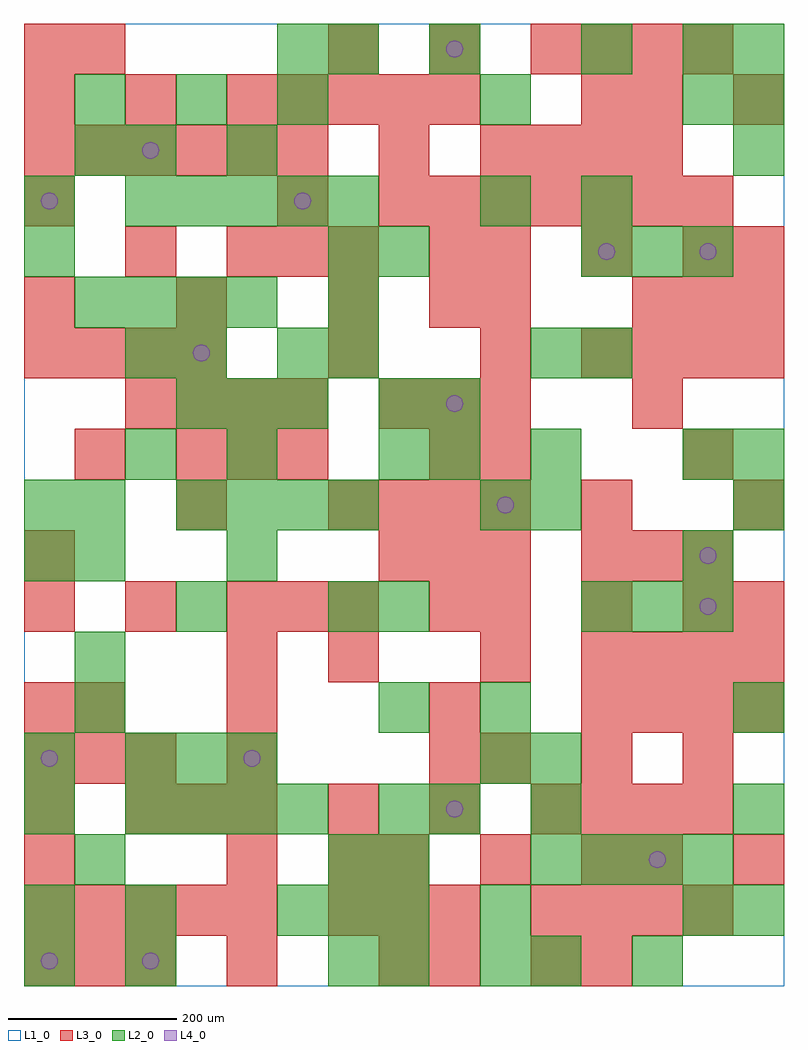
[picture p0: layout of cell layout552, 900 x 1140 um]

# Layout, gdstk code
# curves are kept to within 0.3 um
import gdstk
lib = gdstk.Library(unit=1e-6, precision=1e-09)
def R(c, l, rs):  # rectangles x0, y0, x1, y1
    for r in rs: c.add(gdstk.rectangle(r[:2], r[2:], *l))
def A(c, l, x, y, w, h, nx, ny, dx, dy):  # array of equal rectangles
    R(c, l, [(x+i*dx, y+j*dy, x+i*dx+w, y+j*dy+h) for i in range(nx) for j in range(ny)])
def P(c, l, *ps):  # polygons
    for p in ps: c.add(gdstk.Polygon(p, *l))
L1_0 = (1, 0)
L2_0 = (2, 0)
L3_0 = (3, 0)
L4_0 = (4, 0)

layout552 = lib.new_cell('layout552')
R(layout552, L1_0, [(0,0,900,1140)])
A(layout552, L2_0, 300, 60, 60, 60, 3, 1, 60, 0)
A(layout552, L2_0, 840, 60, 60, 60, 1, 3, 0, 120)
A(layout552, L2_0, 360, 120, 60, 60, 1, 3, 0, 300)
A(layout552, L2_0, 600, 120, 60, 60, 4, 1, 60, 0)
A(layout552, L2_0, 120, 180, 60, 60, 4, 1, 60, 0)
A(layout552, L2_0, 420, 180, 60, 60, 1, 3, 0, 120)
A(layout552, L2_0, 120, 240, 60, 60, 3, 1, 60, 0)
A(layout552, L2_0, 660, 420, 60, 60, 3, 2, 60, 420)
A(layout552, L2_0, 180, 540, 60, 60, 4, 1, 60, 0)
A(layout552, L2_0, 180, 660, 60, 60, 3, 1, 60, 0)
A(layout552, L2_0, 660, 720, 60, 60, 1, 3, 0, 180)
A(layout552, L2_0, 60, 780, 60, 60, 4, 1, 60, 0)
A(layout552, L2_0, 120, 900, 60, 60, 5, 1, 60, 0)
A(layout552, L2_0, 840, 960, 60, 60, 1, 3, 0, 60)
A(layout552, L2_0, 60, 1020, 60, 60, 3, 1, 120, 0)
R(layout552, L2_0, [(0,0,60,60), (120,0,180,60), (360,0,420,60), (420,0,480,60), (540,0,600,60), (600,0,660,60), (720,0,780,60), (0,60,60,120), (120,60,180,120), (540,60,600,120), (780,60,840,120), (60,120,120,180), (420,120,480,180), (0,180,60,240), (480,180,540,240), (600,180,660,240), (0,240,60,300), (540,240,600,300), (600,240,660,300), (60,300,120,360), (540,300,600,360), (60,360,120,420), (180,420,240,480), (0,480,60,540), (60,480,120,540), (240,480,300,540), (780,480,840,540), (0,540,60,600), (60,540,120,600), (540,540,600,600), (600,540,660,600), (840,540,900,600), (120,600,180,660), (240,600,300,660), (420,600,480,660), (480,600,540,660), (600,600,660,660), (780,600,840,660), (840,600,900,660), (420,660,480,720), (480,660,540,720), (120,720,180,780), (180,720,240,780), (300,720,360,780), (600,720,660,780), (360,780,420,840), (0,840,60,900), (360,840,420,900), (420,840,480,900), (0,900,60,960), (540,900,600,960), (60,960,120,1020), (120,960,180,1020), (240,960,300,1020), (540,1020,600,1080), (780,1020,840,1080), (300,1080,360,1140), (360,1080,420,1140), (480,1080,540,1140), (780,1080,840,1140)])
A(layout552, L3_0, 0, 0, 60, 60, 3, 2, 60, 240)
A(layout552, L3_0, 240, 0, 60, 60, 1, 3, 0, 120)
A(layout552, L3_0, 0, 60, 60, 60, 5, 1, 60, 0)
A(layout552, L3_0, 360, 60, 60, 60, 3, 1, 60, 0)
A(layout552, L3_0, 600, 60, 60, 60, 4, 1, 60, 0)
A(layout552, L3_0, 420, 120, 60, 60, 3, 1, 120, 0)
A(layout552, L3_0, 120, 180, 60, 60, 3, 1, 60, 0)
A(layout552, L3_0, 360, 180, 60, 60, 3, 2, 120, 900)
A(layout552, L3_0, 660, 180, 60, 60, 3, 2, 60, 300)
A(layout552, L3_0, 540, 240, 60, 60, 3, 2, 120, 180)
A(layout552, L3_0, 660, 300, 60, 60, 4, 2, 60, 60)
A(layout552, L3_0, 0, 420, 60, 60, 3, 2, 120, 600)
A(layout552, L3_0, 480, 420, 60, 60, 1, 3, 0, 180)
A(layout552, L3_0, 420, 480, 60, 60, 3, 2, 60, 180)
A(layout552, L3_0, 360, 540, 60, 60, 4, 1, 60, 0)
A(layout552, L3_0, 180, 600, 60, 60, 3, 1, 60, 0)
A(layout552, L3_0, 120, 660, 60, 60, 4, 1, 60, 0)
A(layout552, L3_0, 0, 720, 60, 60, 4, 1, 60, 0)
A(layout552, L3_0, 660, 720, 60, 60, 4, 1, 60, 0)
A(layout552, L3_0, 0, 780, 60, 60, 3, 1, 180, 0)
A(layout552, L3_0, 720, 780, 60, 60, 3, 1, 60, 0)
A(layout552, L3_0, 240, 840, 60, 60, 3, 1, 60, 0)
A(layout552, L3_0, 540, 840, 60, 60, 3, 1, 120, 0)
A(layout552, L3_0, 420, 900, 60, 60, 7, 1, 60, 0)
A(layout552, L3_0, 0, 960, 60, 60, 6, 1, 60, 0)
A(layout552, L3_0, 540, 960, 60, 60, 4, 1, 60, 0)
A(layout552, L3_0, 300, 1020, 60, 60, 4, 1, 60, 0)
A(layout552, L3_0, 660, 1080, 60, 60, 3, 1, 60, 0)
R(layout552, L3_0, [(420,0,480,60), (480,0,540,60), (600,0,660,60), (660,0,720,60), (0,120,60,180), (360,120,420,180), (720,120,780,180), (840,120,900,180), (0,180,60,240), (480,240,540,300), (0,300,60,360), (60,300,120,360), (240,300,300,360), (480,300,540,360), (240,360,300,420), (360,360,420,420), (540,360,600,420), (300,420,360,480), (360,420,420,480), (840,420,900,480), (0,480,60,540), (180,540,240,600), (660,540,720,600), (840,540,900,600), (60,600,120,660), (540,600,600,660), (780,600,840,660), (720,660,780,720), (360,720,420,780), (540,720,600,780), (540,780,600,840), (120,840,180,900), (480,840,540,900), (840,840,900,900), (0,900,60,960), (300,900,360,960), (420,960,480,1020), (660,1020,720,1080), (720,1020,780,1080), (840,1020,900,1080), (0,1080,60,1140), (60,1080,120,1140)])
P(layout552, L4_0, [(40,30),(39.239,33.827),(37.071,37.071),(33.827,39.239),(30,40),(26.173,39.239),(22.929,37.071),(20.761,33.827),(20,30),(20.761,26.173),(22.929,22.929),(26.173,20.761),(30,20),(33.827,20.761),(37.071,22.929),(39.239,26.173)],
  [(40,270),(39.239,273.827),(37.071,277.071),(33.827,279.239),(30,280),(26.173,279.239),(22.929,277.071),(20.761,273.827),(20,270),(20.761,266.173),(22.929,262.929),(26.173,260.761),(30,260),(33.827,260.761),(37.071,262.929),(39.239,266.173)],
  [(40,930),(39.239,933.827),(37.071,937.071),(33.827,939.239),(30,940),(26.173,939.239),(22.929,937.071),(20.761,933.827),(20,930),(20.761,926.173),(22.929,922.929),(26.173,920.761),(30,920),(33.827,920.761),(37.071,922.929),(39.239,926.173)],
  [(160,30),(159.239,33.827),(157.071,37.071),(153.827,39.239),(150,40),(146.173,39.239),(142.929,37.071),(140.761,33.827),(140,30),(140.761,26.173),(142.929,22.929),(146.173,20.761),(150,20),(153.827,20.761),(157.071,22.929),(159.239,26.173)],
  [(160,990),(159.239,993.827),(157.071,997.071),(153.827,999.239),(150,1000),(146.173,999.239),(142.929,997.071),(140.761,993.827),(140,990),(140.761,986.173),(142.929,982.929),(146.173,980.761),(150,980),(153.827,980.761),(157.071,982.929),(159.239,986.173)],
  [(220,750),(219.239,753.827),(217.071,757.071),(213.827,759.239),(210,760),(206.173,759.239),(202.929,757.071),(200.761,753.827),(200,750),(200.761,746.173),(202.929,742.929),(206.173,740.761),(210,740),(213.827,740.761),(217.071,742.929),(219.239,746.173)],
  [(280,270),(279.239,273.827),(277.071,277.071),(273.827,279.239),(270,280),(266.173,279.239),(262.929,277.071),(260.761,273.827),(260,270),(260.761,266.173),(262.929,262.929),(266.173,260.761),(270,260),(273.827,260.761),(277.071,262.929),(279.239,266.173)],
  [(340,930),(339.239,933.827),(337.071,937.071),(333.827,939.239),(330,940),(326.173,939.239),(322.929,937.071),(320.761,933.827),(320,930),(320.761,926.173),(322.929,922.929),(326.173,920.761),(330,920),(333.827,920.761),(337.071,922.929),(339.239,926.173)],
  [(520,210),(519.239,213.827),(517.071,217.071),(513.827,219.239),(510,220),(506.173,219.239),(502.929,217.071),(500.761,213.827),(500,210),(500.761,206.173),(502.929,202.929),(506.173,200.761),(510,200),(513.827,200.761),(517.071,202.929),(519.239,206.173)],
  [(520,690),(519.239,693.827),(517.071,697.071),(513.827,699.239),(510,700),(506.173,699.239),(502.929,697.071),(500.761,693.827),(500,690),(500.761,686.173),(502.929,682.929),(506.173,680.761),(510,680),(513.827,680.761),(517.071,682.929),(519.239,686.173)],
  [(520,1110),(519.239,1113.827),(517.071,1117.071),(513.827,1119.239),(510,1120),(506.173,1119.239),(502.929,1117.071),(500.761,1113.827),(500,1110),(500.761,1106.173),(502.929,1102.929),(506.173,1100.761),(510,1100),(513.827,1100.761),(517.071,1102.929),(519.239,1106.173)],
  [(580,570),(579.239,573.827),(577.071,577.071),(573.827,579.239),(570,580),(566.173,579.239),(562.929,577.071),(560.761,573.827),(560,570),(560.761,566.173),(562.929,562.929),(566.173,560.761),(570,560),(573.827,560.761),(577.071,562.929),(579.239,566.173)],
  [(700,870),(699.239,873.827),(697.071,877.071),(693.827,879.239),(690,880),(686.173,879.239),(682.929,877.071),(680.761,873.827),(680,870),(680.761,866.173),(682.929,862.929),(686.173,860.761),(690,860),(693.827,860.761),(697.071,862.929),(699.239,866.173)],
  [(760,150),(759.239,153.827),(757.071,157.071),(753.827,159.239),(750,160),(746.173,159.239),(742.929,157.071),(740.761,153.827),(740,150),(740.761,146.173),(742.929,142.929),(746.173,140.761),(750,140),(753.827,140.761),(757.071,142.929),(759.239,146.173)],
  [(820,450),(819.239,453.827),(817.071,457.071),(813.827,459.239),(810,460),(806.173,459.239),(802.929,457.071),(800.761,453.827),(800,450),(800.761,446.173),(802.929,442.929),(806.173,440.761),(810,440),(813.827,440.761),(817.071,442.929),(819.239,446.173)],
  [(820,510),(819.239,513.827),(817.071,517.071),(813.827,519.239),(810,520),(806.173,519.239),(802.929,517.071),(800.761,513.827),(800,510),(800.761,506.173),(802.929,502.929),(806.173,500.761),(810,500),(813.827,500.761),(817.071,502.929),(819.239,506.173)],
  [(820,870),(819.239,873.827),(817.071,877.071),(813.827,879.239),(810,880),(806.173,879.239),(802.929,877.071),(800.761,873.827),(800,870),(800.761,866.173),(802.929,862.929),(806.173,860.761),(810,860),(813.827,860.761),(817.071,862.929),(819.239,866.173)])

lib.write_gds('layout552.gds')
